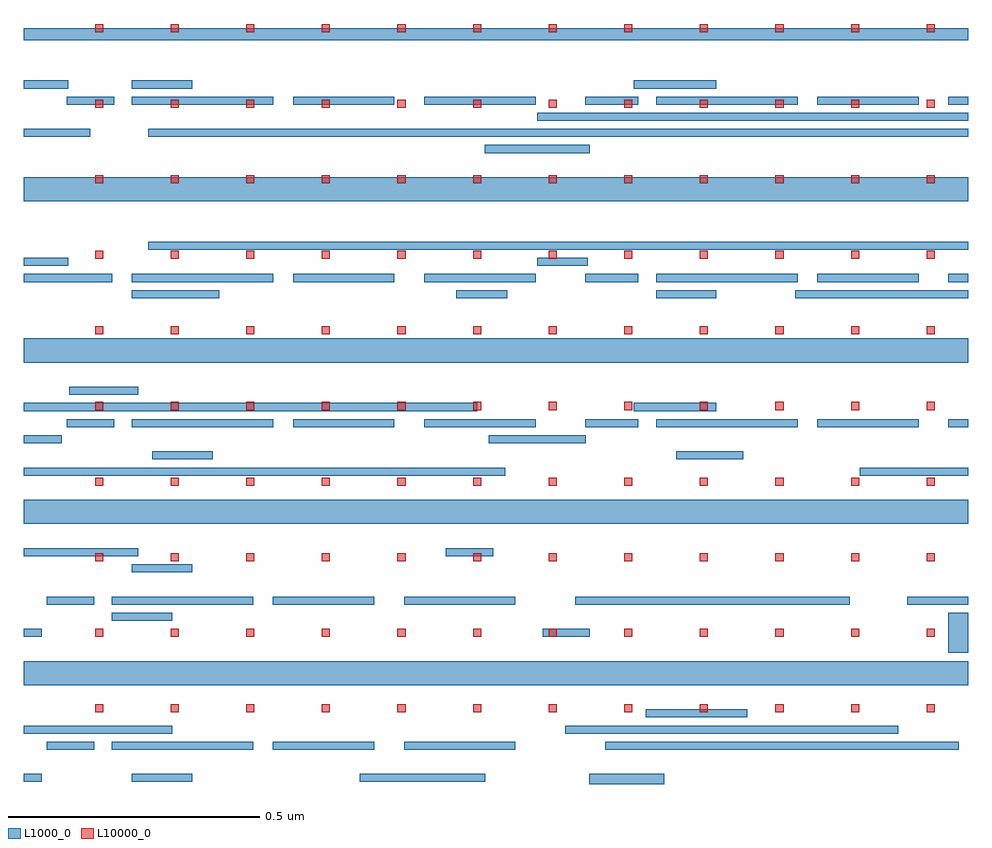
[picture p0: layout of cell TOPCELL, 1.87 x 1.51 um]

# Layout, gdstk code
import gdstk
lib = gdstk.Library(unit=1e-6, precision=1e-09)
def R(c, l, rs):  # rectangles x0, y0, x1, y1
    for r in rs: c.add(gdstk.rectangle(r[:2], r[2:], *l))
def A(c, l, x, y, w, h, nx, ny, dx, dy):  # array of equal rectangles
    R(c, l, [(x+i*dx, y+j*dy, x+i*dx+w, y+j*dy+h) for i in range(nx) for j in range(ny)])
L1000_0 = (1000, 0)
L10000_0 = (10000, 0)

topcell = lib.new_cell('TOPCELL')
A(topcell, L1000_0, -66.625, -134.304, 1.875, 0.048, 1, 4, 0, 0.32)
R(topcell, L1000_0, [(-65.502,-134.5,-65.354,-134.48), (-66.625,-134.496,-66.589,-134.48), (-66.41,-134.496,-66.29,-134.48), (-65.958,-134.496,-65.709,-134.48), (-66.579,-134.432,-66.485,-134.416), (-66.45,-134.432,-66.169,-134.416), (-66.13,-134.432,-65.929,-134.416), (-65.87,-134.432,-65.649,-134.416), (-65.471,-134.432,-64.769,-134.416), (-66.625,-134.4,-66.33,-134.384), (-65.55,-134.4,-64.889,-134.384), (-65.39,-134.368,-65.189,-134.352), (-64.79,-134.24,-64.75,-134.16), (-66.625,-134.208,-66.589,-134.192), (-65.595,-134.208,-65.501,-134.192), (-66.45,-134.176,-66.33,-134.16), (-66.579,-134.144,-66.485,-134.128), (-66.45,-134.144,-66.169,-134.128), (-66.13,-134.144,-65.929,-134.128), (-65.87,-134.144,-65.649,-134.128), (-65.53,-134.144,-64.986,-134.128), (-64.871,-134.144,-64.75,-134.128), (-66.41,-134.08,-66.29,-134.064), (-66.625,-134.048,-66.397,-134.032), (-65.787,-134.048,-65.693,-134.032), (-66.625,-133.888,-65.669,-133.872), (-64.966,-133.888,-64.75,-133.872), (-66.37,-133.856,-66.25,-133.84), (-65.33,-133.856,-65.197,-133.84), (-66.625,-133.824,-66.549,-133.808), (-65.702,-133.824,-65.509,-133.808), (-66.539,-133.792,-66.445,-133.776), (-66.41,-133.792,-66.129,-133.776), (-66.09,-133.792,-65.889,-133.776), (-65.83,-133.792,-65.609,-133.776), (-65.51,-133.792,-65.405,-133.776), (-65.37,-133.792,-65.089,-133.776), (-65.05,-133.792,-64.849,-133.776), (-64.79,-133.792,-64.75,-133.776), (-66.625,-133.76,-65.725,-133.744), (-65.414,-133.76,-65.25,-133.744), (-66.534,-133.728,-66.397,-133.712), (-66.41,-133.536,-66.237,-133.52), (-65.766,-133.536,-65.665,-133.52), (-65.37,-133.536,-65.25,-133.52), (-65.094,-133.536,-64.75,-133.52), (-66.625,-133.504,-66.449,-133.488), (-66.41,-133.504,-66.129,-133.488), (-66.09,-133.504,-65.889,-133.488), (-65.83,-133.504,-65.609,-133.488), (-65.51,-133.504,-65.405,-133.488), (-65.37,-133.504,-65.089,-133.488), (-65.05,-133.504,-64.849,-133.488), (-64.79,-133.504,-64.75,-133.488), (-66.625,-133.472,-66.536,-133.456), (-65.606,-133.472,-65.505,-133.456), (-66.378,-133.44,-64.75,-133.424), (-65.71,-133.248,-65.501,-133.232), (-66.625,-133.216,-66.493,-133.2), (-66.378,-133.216,-64.75,-133.2), (-65.606,-133.184,-64.75,-133.168), (-66.539,-133.152,-66.445,-133.136), (-66.41,-133.152,-66.129,-133.136), (-66.09,-133.152,-65.889,-133.136), (-65.83,-133.152,-65.609,-133.136), (-65.51,-133.152,-65.405,-133.136), (-65.37,-133.152,-65.089,-133.136), (-65.05,-133.152,-64.849,-133.136), (-64.79,-133.152,-64.75,-133.136), (-66.625,-133.12,-66.536,-133.104), (-66.41,-133.12,-66.29,-133.104), (-65.414,-133.12,-65.25,-133.104), (-66.625,-133.024,-64.75,-133)])
A(topcell, L10000_0, -66.483, -134.358, 0.016, 0.016, 12, 10, 0.15, 0.15)

lib.write_gds('TOPCELL.gds')
